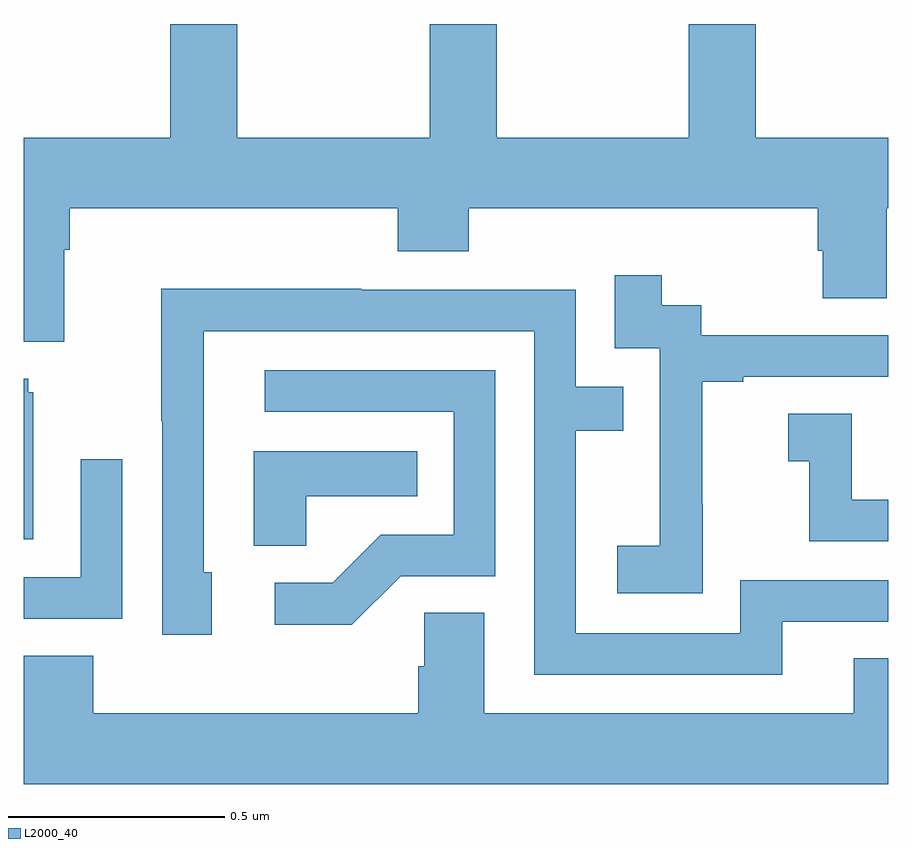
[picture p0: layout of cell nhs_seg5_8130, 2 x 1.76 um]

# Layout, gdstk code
import gdstk
lib = gdstk.Library(unit=1e-6, precision=1e-09)
def P(c, l, *ps):  # polygons
    for p in ps: c.add(gdstk.Polygon(p, *l))
L2000_40 = (2000, 40)

nhs_seg5_8130 = lib.new_cell('nhs_seg5_8130')
P(nhs_seg5_8130, L2000_40, [(218.539,911.799),(218.539,911.536),(218.094,911.536),(218.094,911.799),(217.939,911.799),(217.939,911.536),(217.494,911.536),(217.494,911.799),(217.339,911.799),(217.339,911.536),(217,911.536),(217,911.063),(217.093,911.063),(217.093,911.276),(217.106,911.276),(217.106,911.372),(217.865,911.372),(217.865,911.273),(218.03,911.273),(218.03,911.372),(218.837,911.372),(218.837,911.274),(218.849,911.274),(218.849,911.164),(218.997,911.164),(218.997,911.372),(219,911.372),(219,911.536),(218.694,911.536),(218.694,911.799)],
  [(218.571,910.687),(218.57,910.687),(218.57,910.971),(218.665,910.971),(218.665,910.983),(219,910.983),(219,911.079),(218.568,911.079),(218.568,911.148),(218.476,911.148),(218.476,911.218),(218.367,911.218),(218.367,911.049),(218.472,911.049),(218.472,910.82),(218.471,910.82),(218.471,910.591),(218.373,910.591),(218.373,910.481),(218.571,910.481)],
  [(218.755,910.416),(219,910.416),(219,910.512),(218.658,910.512),(218.658,910.389),(218.277,910.389),(218.277,910.858),(218.387,910.858),(218.387,910.959),(218.277,910.959),(218.277,911.184),(217.781,911.184),(217.781,911.186),(217.318,911.186),(217.318,910.879),(217.32,910.879),(217.32,910.386),(217.435,910.386),(217.435,910.53),(217.416,910.53),(217.416,911.088),(218.181,911.088),(218.181,910.293),(218.755,910.293)],
  [(217.872,910.521),(218.091,910.521),(218.091,910.998),(217.557,910.998),(217.557,910.902),(217.995,910.902),(217.995,910.617),(217.826,910.617),(217.715,910.506),(217.581,910.506),(217.581,910.409),(217.759,910.409)],
  [(217.021,910.947),(217.01,910.947),(217.01,910.978),(217,910.978),(217,910.607),(217.021,910.607)],
  [(219,910.698),(218.916,910.698),(218.916,910.897),(218.769,910.897),(218.769,910.787),(218.818,910.787),(218.818,910.602),(219,910.602)],
  [(217.653,910.706),(217.91,910.706),(217.91,910.81),(217.532,910.81),(217.532,910.591),(217.653,910.591)],
  [(217.227,910.792),(217.131,910.792),(217.131,910.518),(217,910.518),(217,910.422),(217.227,910.422)],
  [(219,910.331),(218.921,910.331),(218.921,910.204),(218.065,910.204),(218.065,910.436),(217.926,910.436),(217.926,910.313),(217.913,910.313),(217.913,910.204),(217.16,910.204),(217.16,910.337),(217,910.337),(217,910.04),(219,910.04)])

lib.write_gds('nhs_seg5_8130.gds')
